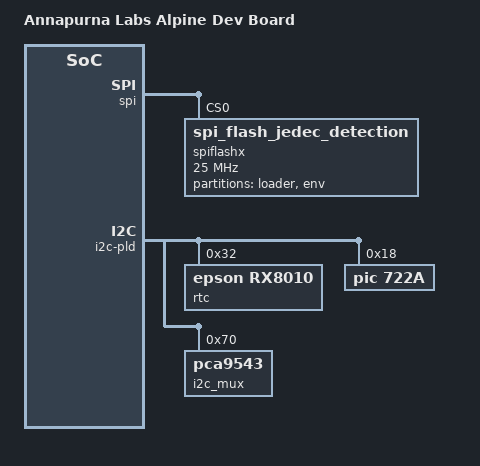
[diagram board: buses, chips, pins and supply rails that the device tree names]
/*
 * Copyright 2013 Annapurna Labs Ltd.
 *
 * This program is free software; you can redistribute it and/or modify it
 * under the terms and conditions of the GNU General Public License,
 * version 2, as published by the Free Software Foundation.
 *
 * This program is distributed in the hope it will be useful, but WITHOUT
 * ANY WARRANTY; without even the implied warranty of MERCHANTABILITY or
 * FITNESS FOR A PARTICULAR PURPOSE.  See the GNU General Public License for
 * more details.
 *
 * You should have received a copy of the GNU General Public License along with
 * this program.  If not, see <http://www.gnu.org/licenses/>.
 */

/dts-v1/;

/include/ "alpine.dtsi"

/ {
	model = "Annapurna Labs Alpine Dev Board";
	compatible = "annapurna-labs,alpine";

	hypervisor {
	};

	soc {
		board-cfg {
			id = "alpine_db_qnap";

			/* U-Boot offset in boot source [bytes] */
			u-boot-offset = <0x20000>;

			/*
			 * Some of the PBS bus controllers have dedicated pins,
			 * however most of the pins are Multi-usage I/Os (MUIO),
			 * thus enabling flexible usage.
			 * Refer to the specific chip datasheet for further details.
			 *
			 * Choose which interfaces are to be multiplexed:
			 * - &if_nand_8 - NAND
			 * - &if_nand_cs_0, ..., &if_nand_cs_3 - NAND CS 0..3
			 * - &if_nand_wp - NAND WP
			 * - &if_sata_0_leds, &if_sata_1_leds - SATA leds
			 * - &if_eth_leds - Ethernet leds
			 * - &if_uart_1, ..., &if_uart_3 - UART 1..3
			 * - &if_i2c_gen - secondary I2C conrtoller
			 * - &if_ulpi_0_rst_n - ULPI reset
			 * - &if_pci_ep_int_a - PCIe EP interrupt
			 * - &if_pci_ep_reset_out - PCIe EP reset out
			 * - &if_spim_a_ss_1, ..., &if_spim_a_ss_3 - SPI CS 1..3
			 */
			pinctrl_init {
				pinctrl-0 = <
					&if_nand_8
					&if_nand_cs_0
                    &if_uart_1
                    &if_uart_2
					>;
			};

			/*
			 * Initial GPIO configuration - which pins are input,
			 * which are output, and what is the initial value for
			 * output pins.
			 * By default, GPIO pins that are not listed below are
			 * input pins.
			 * GPIO pins which are listed below are automatically
			 * multiplexed and should not conflict with the
			 * multiplexed interfaces listed in 'pinctrl_init'
			 * above.
			 */
			gpio_init {
				/* <
				 * GPIO num 1, is output, output value
				 * GPIO num 2, is output, output value
				 * ...
				 * GPIO num N, is output, output value
				 * >
				 */
				gpio-list = <
					/* Inputs */
					0 0 0 /* UART 1,2,3 module inserted */
					32 0 0 /* PCIE0 present */
					33 0 0 /* PCIE1_present */
					34 0 0 /* PCIE2SATA not present */
					35 0 0 /* SFP 0,1 absent */
					36 0 0 /* SFP 2,3 absent */
					37 0 0 /* External ETH PHY interrupt */

					/* Outputs */
					1 1 0 /* Debug led 0 */
					2 1 0 /* Debug led 1 */
					3 1 0 /* ULPI 0 RST_N */
					4 1 0
					5 1 0 /* Preloader EEPROM enable */
					38 1 1 /* PCI RSTN */
					39 1 1 /* SFP ON */
					40 1 0 /* External ETH PHY A reset */
					41 1 0 /* External ETH PHY B reset */
					42 1 1 /* VDD DRAM 1: 1.5V, 0: 1.35V */
					43 1 0 /* VTT OFF */
					29 1 0 /* Eth2 LED */
					31 1 0 /* ETH0 LED */
				>;
			};

			/* SerDes initialization configuration */
			serdes {
				/*
				 * 'ref-clock' can be any of the following:
				 * - "100Mhz-internal" - 100 Mhz internal clock
				 * - "100Mhz" - 100 Mhz on-board clock
				 * - "156.25Mhz" - 156.25 Mhz on-board clock
				 * - "right" - Clock is routed from right group
				 *             - assuming the right group has
				 *               on-board clock
				 *             - assuming 3 <> 2 <> 1 <> 0
				 * - "left" - Clock is routed from left group
				 *            - assuming the left group has
				 *              on-board clock
				 *            - assuming 3 <> 2 <> 1 <> 0
				 *
				 * 'active-lanes' selects which lanes are active
				 * e.g. <0 1 2 3>, <0 1>, etc.
				 *
				 * 'inv-tx-lanes' selects which lanes have their
				 * Tx polarity inverted (+/-)
				 * e.g. <0 1 2 3>, <0 1>, etc.
				 *
				 * 'inv-rx-lanes' selects which lanes have their
				 * Rx polarity inverted (+/-)
				 * e.g. <0 1 2 3>, <0 1>, etc.
				 *
				 * 'ssc' - SSC (spread spectrum clock)
				 * - "enabled" or "disabled"
				 * - Relevant only for 'interface' = 'sata'
				 *
				 * group 0:
				 * 'interface' can be any of the following:
				 * - "off" - no interface on this group
				 * - "off_bp" - no interface on this group, but
				 *              r2l/l2r clocks are bypassed
				 * - "pcie_g2x2_usb" - PCIe gen 2 x2 + USB
				 * - "pcie_g2x2_pcie_g2x2" - 2xPCIe gen 2 x2
				 * - "pcie_g3x4" - PCIe gen 3 x4
				 *
				 * group 1:
				 * 'interface' can be any of the following:
				 * - "off" - no interface on this group
				 * - "off_bp" - no interface on this group, but
				 *              r2l/l2r clocks are bypassed
				 * - "pcie_g3x4" - PCIe gen 3 x4
				 * - "sata" - SATA (up to 4 ports)
				 *
				 * group 2:
				 * 'interface' can be any of the following:
				 * - "off" - no interface on this group
				 * - "off_bp" - no interface on this group, but
				 *              r2l/l2r clocks are bypassed
				 * - "pcie_g3x4" - PCIe gen 3 x4
				 * - "sata" - SATA (up to 4 ports)
				 *
				 * group 3:
				 * 'interface' can be any of the following:
				 * - "off" - no interface on this group
				 * - "off_bp" - no interface on this group, but
				 *              r2l/l2r clocks are bypassed
				 * - "pcie_g2x2_usb" - PCIe gen 2 x2 + USB
				 * - "sgmii" - SGMII (up to 4 ports)
				 * - "10gbe" - 10GbE (up to 4 ports)
				 */

				group0 {
					interface = "pcie_g3x4";
					ref-clock = "left";
					active-lanes = <0 1 2 3>;
					inv-tx-lanes = <>;
					inv-rx-lanes = <>;
					ssc = "disabled";
				};

				group1 {
					interface = "sata";
					ref-clock = "100Mhz";
					active-lanes = <0 1 2 3>;
					inv-tx-lanes = <>;
					inv-rx-lanes = <>;
					ssc = "disabled";
				};

				group2 {
					interface = "sata";
					ref-clock = "right";
					active-lanes = <0 1 2 3>;
					inv-tx-lanes = <>;
					inv-rx-lanes = <>;
					ssc = "disabled";
				};

				group3 {
					interface = "10gbe";
					ref-clock = "156.25Mhz";
					active-lanes = <1 3>;
					inv-tx-lanes = <>;
					inv-rx-lanes = <>;
					ssc = "disabled";
				};
			};

			/* Ethernet port configuration */
			ethernet {
				port0 {
					status = "enabled";

					/*
					 * MAC mode (rgmii, sgmii, 1g-serial, 10g-serial, auto-detect, auto-detect-auto-speed)
					 * - auto-detect mode is relevant when SFP exists. in this mode
					 * SFP EEPROM will be read to detect what SFP inserted
					 * - auto-detect-auto-speed mode is relevant when SFP exists and
					 * the SerDes reference clock frequency is 156.25Mhz. In this
					 * mode SFP EEPROM will be read to detect what SFP inserted while
					 * 10G serial and 1G serial SFP modeuls can be exchanged on-the-fly
					 * as long as all active SerDes based Ethernet ports use the same
					 * mode.
					 */
					mode = "auto-detect-auto-speed";

					/*
					 * I2C bus ID as shows in Linux I2C bus enumeration:
					 * When using I2C_A and I2C Mux is connected to I2C_A, Linux enumerates multiple I2C buses:
					 * - I2C bus 0 is the physical bus
					 * - I2C bus 1 is channel 0 of the mux
					 * - I2C bus 2 is channel 1 of the mux
					 * - ...
					 * Relevant when MAC mode is auto-detect or when phy_type is i2c
					 */
					/* i2c-id = <1>; */
					i2c-id = <2>;

					10g-serial {
						auto-neg = "disabled";
						link-training = "disabled";
						fec = "disabled";
					};
				};

				port1 {
					status = "enabled";

					/*
					 * MAC mode (rgmii, sgmii, 1g-serial, 10g-serial, auto-detect, auto-detect-auto-speed)
					 * - auto-detect mode is relevant when SFP exists. in this mode
					 * SFP EEPROM will be read to detect what SFP inserted
					 * - auto-detect-auto-speed mode is relevant when SFP exists and
					 * the SerDes reference clock frequency is 156.25Mhz. In this
					 * mode SFP EEPROM will be read to detect what SFP inserted while
					 * 10G serial and 1G serial SFP modeuls can be exchanged on-the-fly
					 * as long as all active SerDes based Ethernet ports use the same
					 * mode.
					 */
					mode = "rgmii";

					ext_phy {
						/* PHY management interface type (mdc-mdio, xmdc-xmdio, i2c) */
						phy_mgmt_if = "mdc-mdio";
						/* in case the interface is i2c phy-addr is the
						 * 5 lowest bits of the i2c address*/
						phy-addr = <4>;
						/*
						 * MDC-MDIO frequency:
						 * - "2.5Mhz"
						 * - "1.0Mhz"
						 */
						mdc-mdio-freq = "1.0Mhz";
						/* auto negotiation (in-band, out-of-band)*/
						auto-neg-mode="out-of-band";
					};
				};

				port2 {
					status = "enabled";

					/*
					 * MAC mode (rgmii, sgmii, 1g-serial, 10g-serial, auto-detect, auto-detect-auto-speed)
					 * - auto-detect mode is relevant when SFP exists. in this mode
					 * SFP EEPROM will be read to detect what SFP inserted
					 * - auto-detect-auto-speed mode is relevant when SFP exists and
					 * the SerDes reference clock frequency is 156.25Mhz. In this
					 * mode SFP EEPROM will be read to detect what SFP inserted while
					 * 10G serial and 1G serial SFP modeuls can be exchanged on-the-fly
					 * as long as all active SerDes based Ethernet ports use the same
					 * mode.
					 */
					mode = "auto-detect-auto-speed";

					/*
					 * I2C bus ID as shows in Linux I2C bus enumeration:
					 * When using I2C_A and I2C Mux is connected to I2C_A, Linux enumerates multiple I2C buses:
					 * - I2C bus 0 is the physical bus
					 * - I2C bus 1 is channel 0 of the mux
					 * - I2C bus 2 is channel 1 of the mux
					 * - ...
					 * Relevant when MAC mode is auto-detect or when phy_type is i2c
					 */
					/* QNAP modify from 3 to 2 */
					i2c-id = <1>;

					10g-serial {
						auto-neg = "disabled";
						link-training = "disabled";
						fec = "disabled";
					};
				};

				port3 {
					status = "enabled";

					/*
					 * MAC mode (rgmii, sgmii, 1g-serial, 10g-serial, auto-detect, auto-detect-auto-speed)
					 * - auto-detect mode is relevant when SFP exists. in this mode
					 * SFP EEPROM will be read to detect what SFP inserted
					 * - auto-detect-auto-speed mode is relevant when SFP exists and
					 * the SerDes reference clock frequency is 156.25Mhz. In this
					 * mode SFP EEPROM will be read to detect what SFP inserted while
					 * 10G serial and 1G serial SFP modeuls can be exchanged on-the-fly
					 * as long as all active SerDes based Ethernet ports use the same
					 * mode.
					 */
					mode = "rgmii";
					ext_phy {
						/* PHY management interface type (mdc-mdio, xmdc-xmdio, i2c) */
						phy_mgmt_if = "mdc-mdio";
						/* in case the interface is i2c phy-addr is the
						 * 5 lowest bits of the i2c address*/
						phy-addr = <5>;
						/*
						 * MDC-MDIO frequency:
						 * - "2.5Mhz"
						 * - "1.0Mhz"
						 */
						mdc-mdio-freq = "1.0Mhz";
						/* auto negotiation (in-band, out-of-band)*/
						auto-neg-mode="out-of-band";
					};
				};
			};

			/* PCIe port configuration */
			pcie {
				/*
				 * Selects which ports are used as end-point
				 * ports, e.g. <0>.
				 */
				ep-ports = <>;

				/* Port 0 status, speed, and number of lanes */
				port0 {
					status = "enabled";
					gen = <3>;
					width = <4>;
				};

				/* Port 1 status, speed, and number of lanes */
				port1 {
					status = "disabled";
					gen = <3>;
					width = <4>;
				};

				/* Port 1 status, speed, and number of lanes */
				port2 {
					status = "disabled";
					gen = <3>;
					width = <4>;
				};
			};
		};

		/* pmu { status = "disabled"; }; */
		arch-timer { compatible = "disabled"; };
		/* timer0 { status = "disabled"; }; */
		/* timer1 { status = "disabled"; }; */
		timer2 { status = "disabled"; };
		timer3 { status = "disabled"; };
		wdt1 { status = "disabled"; };
		wdt2 { status = "disabled"; };
		wdt3 { status = "disabled"; };
		/* i2c-pld  { status = "disabled"; }; */
		/* spi { status = "disabled"; }; */
		i2c-gen  { status = "disabled"; };
		/* gpio0 { status = "disabled"; }; */
		/* gpio1 { status = "disabled"; }; */
		/* gpio2 { status = "disabled"; }; */
		/* gpio3 { status = "disabled"; }; */
		/* gpio4 { status = "disabled"; }; */
		/* gpio5 { status = "disabled"; }; */
		/*uart0 { status = "disabled"; };*/
		/*uart1 { status = "disabled"; };*/
		/*uart2 { status = "disabled"; };*/
		uart3 { status = "disabled"; };
		nor_flash { status = "disabled"; };
		/* nand-flash { status = "disabled"; }; */
		/* al-fabric { status = "disabled"; }; */
		/* pcie-internal { status = "disabled"; }; */
		/* pcie-external0 { status = "disabled"; }; */
		/* pcie-external1 { status = "disabled"; }; */
		/* pcie-external2 { status = "disabled"; }; */

		spi {
			/* cs-gpios = <&gpio0 4 0>; */

			spiflashx@0 {
				#address-cells = <1>;
				#size-cells = <1>;
				compatible = "spi_flash_jedec_detection";
				spi-max-frequency = <25000000>; /* 25MHz */
				reg = <0>;

				partition@0 {
					reg = <0x0 0xA0000>; /* 640B */
					label = "loader";
					read-only;
				};

				partition@1 {
					reg = <0xA0000 0x60000>; /* 384 KB */
					label = "env";
				};				
			};
		};


		nand-flash {
			#address-cells = <1>;
			#size-cells = <1>;
			partition@0 {
				label = "boot1_kernel";
				reg = <0x00000000 0x02000000>;
			};
			partition@1 {
				label = "boot1_rootfs2";
				reg = <0x02000000 0xD800000>;
			};
			partition@2 {
				label = "boot2_kernel";
				reg = <0xF800000 0x02000000>;
			};
			partition@3 {
				label = "boot2_rootfs2";
				reg = <0x11800000 0xD800000>;
			};
			partition@4 {
				label = "config";
				reg = <0x1F000000 0xF00000>;
			};
		};

		i2c-pld  {
			#address-cells = <1>;
			#size-cells = <0>;
			/*RX-8010*/
			rtc@32 {
				compatible = "epson,rx8010";
				reg = <0x32>;
				/* gpios = <&gpio2 17 0>,  <&gpio4 19 0>; */
			};

			/*PIC-16F722A*/
			pic@18 {
				compatible = "pic,722A";
				reg = <0x18>;
			};

			i2c_mux@70 {
				compatible = "pca9543";
				reg = <0x70>;
			};
		};


		/* SATA SW controlled leds, use gpio 1 for port 0 host 1, and gpio 2 for port 1 host 1 */
		/* host 1 pci address is domain 0, bus 0, device (slot) 9 */
		/* uncomment the below node in order to enable */
		/* QNAP Patch for support sw hd led functions */
		sata_sw_leds {
			compatible = "annapurna-labs,al-sata-sw-leds";
			led@0 {
				label = "host 0, port 0 activity&presence led";
				pci_domain = <0>;
				pci_bus = <0>;
				pci_dev = <8>;
				port = <0>;
				gpios =<&gpio4 1 0>;
			};
			led@1 {
				label = "host 0, port 1 activity&presence led";
				pci_domain = <0>;
				pci_bus = <0>;
				pci_dev = <8>;
				port = <1>;
				gpios =<&gpio4 2 0>;
			};
			led@2 {
				label = "host 0, port 2 activity&presence led";
				pci_domain = <0>;
				pci_bus = <0>;
				pci_dev = <8>;
				port = <2>;
				gpios =<&gpio2 6 0>;
			};
			led@3 {
				label = "host 0, port 3 activity&presence led";
				pci_domain = <0>;
				pci_bus = <0>;
				pci_dev = <8>;
				port = <3>;
				gpios =<&gpio2 7 0>;
			};
			led@4 {
				label = "host 1, port 4 activity&presence led";
				pci_domain = <0>;
				pci_bus = <0>;
				pci_dev = <9>;
				port = <0>;
				gpios =<&gpio3 0 0>;
			};
			led@5 {
				label = "host 1, port 5 activity&presence led";
				pci_domain = <0>;
				pci_bus = <0>;
				pci_dev = <9>;
				port = <1>;
				gpios =<&gpio3 1 0>;
			};
			led@6 {
				label = "host 1, port 6 activity&presence led";
				pci_domain = <0>;
				pci_bus = <0>;
				pci_dev = <9>;
				port = <2>;
				gpios =<&gpio4 4 0>;
			};
			led@7 {
				label = "host 1, port 7 activity&presence led";
				pci_domain = <0>;
				pci_bus = <0>;
				pci_dev = <9>;
				port = <3>;
				gpios =<&gpio4 5 0>;
			};
		};
	};
};
